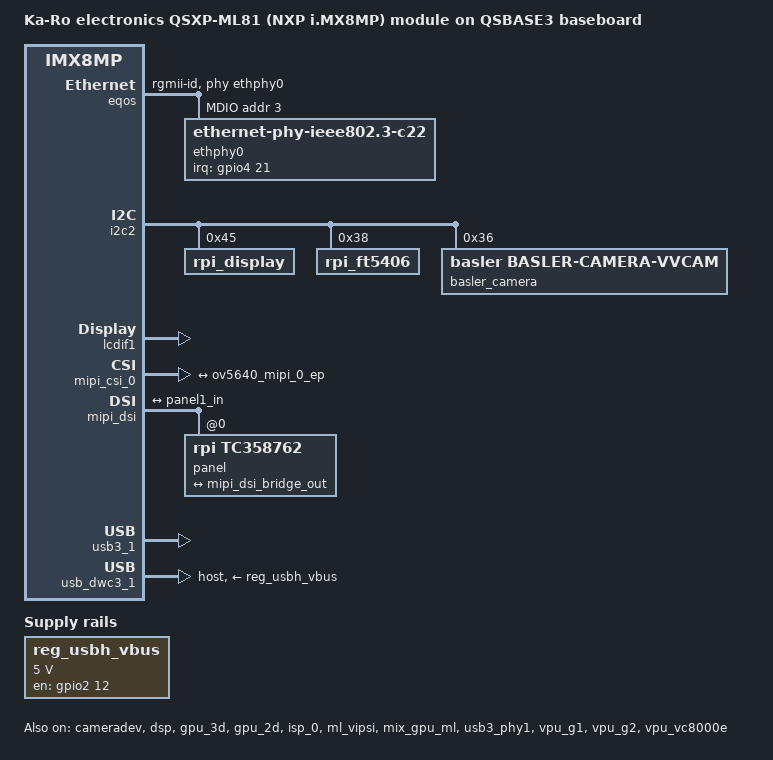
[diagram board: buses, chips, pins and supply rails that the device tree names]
// SPDX-License-Identifier: (GPL-2.0 OR MIT)
/*
 * Copyright (C) 2020 Markus Bauer <mb@karo-electronics.de>
 *
 */

/dts-v1/;

#include "imx8mp-qsxp-ml81.dts"

/ {
	model = "Ka-Ro electronics QSXP-ML81 (NXP i.MX8MP) module on QSBASE3 baseboard";

	aliases {
		ethernet0 = &eqos;
		/delete-property/ ethernet1;
	};

	reserved-memory {
		#address-cells = <2>;
		#size-cells = <2>;
		ranges;

		rpmsg_reserved: rpmsg@0x55800000 {
			no-map;
			reg = <0 0x55800000 0 0x800000>;
		};
	};

	reg_usbh_vbus: regulator-usbh-vbus {
		compatible = "regulator-fixed";
		pinctrl-names = "default";
		pinctrl-0 = <&pinctrl_usbh_vbus>;
		regulator-name = "USBH-VBUS";
		regulator-min-microvolt = <5000000>;
		regulator-max-microvolt = <5000000>;
		gpio = <&gpio2 12 GPIO_ACTIVE_HIGH>;
		enable-active-high;
		regulator-always-on;
	};
};

&cameradev {
	status = "okay";
};

&clk {
	init-on-array = <IMX8MP_CLK_HSIO_ROOT>;
};

&dsp {
	status = "okay";
};

&eqos {
	pinctrl-names = "default";
	pinctrl-0 = <&pinctrl_eqos>;
	phy-mode = "rgmii-id";
	phy-handle = <&ethphy0>;
	status = "okay";

	mdio {
		compatible = "snps,dwmac-mdio";
		#address-cells = <1>;
		#size-cells = <0>;

		ethphy0: ethernet-phy@3 {
			compatible = "ethernet-phy-ieee802.3-c22";
			pinctrl-names = "default";
			pinctrl-0 = <&pinctrl_etnphy_int_b>;
			interrupt-parent = <&gpio4>;
			interrupts = <21 IRQ_TYPE_EDGE_FALLING>;
			reg = <3>;
			eee-broken-1000t;
			rxd0-skew-ps = <(420 + 112)>;
			rxd1-skew-ps = <(420 + 125)>;
			rxd2-skew-ps = <(420 + 123)>;
			rxd3-skew-ps = <(420 + 135)>;
			txd0-skew-ps = <(420 + 205)>;
			txd1-skew-ps = <(420 + 192)>;
			txd2-skew-ps = <(420 + 197)>;
			txd3-skew-ps = <(420 + 169)>;
			rxdv-skew-ps = <(420 + 140)>;
			txen-skew-ps = <(420 + 170)>;
			rxc-skew-ps = <(900 + 143)>;
			txc-skew-ps = <(900 + 160)>;
		};
	};
};

&gpu_3d {
	status = "okay";
};

&gpu_2d {
	status = "okay";
};

&i2c2 {
	rpi_display: rpi_display@45 {
		compatible = "rpi_display";
		reg = <0x45>;
	};

	rpi_ft5406: rpi_ft5406@38 {
		compatible = "rpi_ft5406";
		reg = <0x38>;
	};

	ov5640_0: ov5640_mipi@3c {
		compatible = "ovti,ov5640";
		reg = <0x3c>;
		pinctrl-names = "default";
		pinctrl-0 = <&pinctrl_csi0_pwn>, <&pinctrl_csi0_rst>;
		clocks = <&clk IMX8MP_CLK_IPP_DO_CLKO2>;
		clock-names = "xclk";
		assigned-clocks = <&clk IMX8MP_CLK_IPP_DO_CLKO2>;
		assigned-clock-parents = <&clk IMX8MP_CLK_24M>;
		assigned-clock-rates = <24000000>;
		csi_id = <0>;
		powerdown-gpios = <&gpio2 17 GPIO_ACTIVE_HIGH>;
		reset-gpios = <&gpio4 24 GPIO_ACTIVE_LOW>;
		mclk = <24000000>;
		mclk_source = <0>;
		mipi_csi;
		status = "disabled";

		port {
			ov5640_mipi_0_ep: endpoint {
				remote-endpoint = <&mipi_csi0_ep>;
				data-lanes = <1 2>;
				clock-lanes = <0>;
			};
		};
	};

	ov2775_0: ov2775_mipi@36 {
		compatible = "ovti,ov2775";
		reg = <0x36>;
		pinctrl-names = "default";
		pinctrl-0 = <&pinctrl_csi0_pwn>, <&pinctrl_csi0_rst>;
		clocks = <&clk IMX8MP_CLK_IPP_DO_CLKO2>;
		clock-names = "csi_mclk";
		assigned-clocks = <&clk IMX8MP_CLK_IPP_DO_CLKO2>;
		assigned-clock-parents = <&clk IMX8MP_CLK_24M>;
		assigned-clock-rates = <24000000>;
		csi_id = <0>;
		pwn-gpios = <&gpio2 17 GPIO_ACTIVE_HIGH>;
		rst-gpios = <&gpio4 24 GPIO_ACTIVE_LOW>;
		mclk = <24000000>;
		mclk_source = <0>;
		status = "disabled";
	};

	basler_camera@36 {
		compatible = "basler,basler-camera-vvcam", "basler-camera-vvcam";
		reg = <0x36>;
		csi_id = <0x00>;
		status = "okay";

		port {
			endpoint {
				data-lanes = <1 2 3 4>;
				clock-lanes = <0>;
				link-frequencies = /bits/ 64 <248000000>;
			};
		};
	};
};

&i2c3 {
	status = "disabled";
};

&isp_0 {
	status = "okay";
};

&lcdif1 {
        status = "okay";
};

&mipi_csi_0 {
	#address-cells = <1>;
	#size-cells = <0>;
	clocks = <&clk IMX8MP_CLK_MEDIA_CAM1_PIX>,
			 <&clk IMX8MP_CLK_MEDIA_AXI>,
			 <&clk IMX8MP_CLK_MEDIA_APB>;
	clock-names = "mipi_clk", "axi_root", "apb_root";
	assigned-clocks = <&clk IMX8MP_CLK_MEDIA_CAM1_PIX>,
			  <&clk IMX8MP_CLK_MEDIA_AXI>,
			  <&clk IMX8MP_CLK_MEDIA_APB>;
	assigned-clock-parents = <&clk IMX8MP_SYS_PLL2_1000M>,
				 <&clk IMX8MP_SYS_PLL2_500M>,
				 <&clk IMX8MP_SYS_PLL1_800M>;
	assigned-clock-rates = <500000000>, <500000000>, <200000000>;
	status = "okay";

	port@0 {
		reg = <0>;
		mipi_csi0_ep: endpoint {
			remote-endpoint = <&ov5640_mipi_0_ep>;
			data-lanes = <2>;
			csis-hs-settle = <13>;
			csis-clk-settle = <2>;
			csis-wclk;
		};
	};
};

&mipi_dsi {
	status = "okay";

	panel@0 {
		compatible = "rpi,tc358762";
		reg = <0>;
		dsi-lanes = <1>;
		video-mode = <2>;
		panel-width-mm = <154>;
		panel-height-mm = <86>;

		port {
			panel1_in: endpoint {
				remote-endpoint = <&mipi_dsi_bridge_out>;
			};
		};
	};

	port@1 {
		mipi_dsi_bridge_out: endpoint {
			remote-endpoint = <&panel1_in>;
			attach-bridge;
		};
	};
};

&ml_vipsi {
	status = "okay";
};

&mix_gpu_ml {
	status = "okay";
};

&pcie {
	pinctrl-names = "default";
	pinctrl-0 = <&pinctrl_pcie>;
	bus-range = <0x00 0xff>;
	disable-gpio = <&gpio4 24 GPIO_ACTIVE_LOW>;
	reset-gpio = <&gpio1 15 GPIO_ACTIVE_LOW>;
	ext_osc = <0>;
	clocks = <&clk IMX8MP_CLK_HSIO_AXI_DIV>,
		 <&clk IMX8MP_CLK_PCIE_AUX>,
		 <&clk IMX8MP_CLK_PCIE_PHY>,
		 <&clk IMX8MP_CLK_PCIE_ROOT>;
	clock-names = "pcie", "pcie_aux", "pcie_phy", "pcie_bus";
	assigned-clocks = <&clk IMX8MP_CLK_HSIO_AXI_SRC>,
			  <&clk IMX8MP_CLK_PCIE_AUX>;
	assigned-clock-parents = <&clk IMX8MP_SYS_PLL2_500M>,
				 <&clk IMX8MP_SYS_PLL2_50M>;
	reserved-region = <&rpmsg_reserved>;
	status = "disabled";
};

&pcie_phy {
	status = "disabled";
};

&usb3_1 {
	status = "okay";
};

&usb3_phy1 {
	fsl,phy-tx-preemp-amp-tune = <2>;
	status = "okay";
};

&usb_dwc3_1 {
	dr_mode = "host";
	vbus-supply = <&reg_usbh_vbus>;
	status = "okay";
};

&usdhc2 {
	status = "disabled";
};

&vpu_g1 {
	status = "okay";
};

&vpu_g2 {
	status = "okay";
};

&vpu_vc8000e {
	status = "okay";
};

&iomuxc {
	pinctrl_etnphy_int_b: etnphy-int-bgrp {
		fsl,pins = <
			    MX8MP_IOMUXC_SAI2_RXFS__GPIO4_IO21		0x90
		>;
	};

	pinctrl_etnphy_rst_b: etnphy-rst-bgrp {
		fsl,pins = <
			    MX8MP_IOMUXC_SAI2_RXC__GPIO4_IO22		0x140
		>;
	};

	pinctrl_eqos: eqosgrp {
		fsl,pins = <
			    MX8MP_IOMUXC_GPIO1_IO00__CCMSRCGPCMIX_ENET_PHY_REF_CLK_ROOT 0x110
			    MX8MP_IOMUXC_ENET_MDC__ENET_QOS_MDC		0x142
			    MX8MP_IOMUXC_ENET_MDIO__ENET_QOS_MDIO	0x142
			    MX8MP_IOMUXC_ENET_TXC__CCM_ENET_QOS_CLOCK_GENERATE_TX_CLK 0x40000016
			    MX8MP_IOMUXC_ENET_TD0__ENET_QOS_RGMII_TD0	0x016
			    MX8MP_IOMUXC_ENET_TD1__ENET_QOS_RGMII_TD1	0x016
			    MX8MP_IOMUXC_ENET_TD2__ENET_QOS_RGMII_TD2	0x016
			    MX8MP_IOMUXC_ENET_TD3__ENET_QOS_RGMII_TD3	0x016
			    MX8MP_IOMUXC_ENET_RD0__ENET_QOS_RGMII_RD0	0x150
			    MX8MP_IOMUXC_ENET_RD1__ENET_QOS_RGMII_RD1	0x150
			    MX8MP_IOMUXC_ENET_RD2__ENET_QOS_RGMII_RD2	0x150
			    MX8MP_IOMUXC_ENET_RD3__ENET_QOS_RGMII_RD3	0x150
			    MX8MP_IOMUXC_ENET_RXC__CCM_ENET_QOS_CLOCK_GENERATE_RX_CLK 0x156
			    MX8MP_IOMUXC_ENET_RX_CTL__ENET_QOS_RGMII_RX_CTL 0x116
			    MX8MP_IOMUXC_ENET_TX_CTL__ENET_QOS_RGMII_TX_CTL 0x016
		>;
	};

	pinctrl_fec_sleep: fec-sleep-grp {
		fsl,pins = <
			    MX8MP_IOMUXC_GPIO1_IO00__GPIO1_IO00		0x120
			    MX8MP_IOMUXC_ENET_MDC__GPIO1_IO16		0x120
			    MX8MP_IOMUXC_ENET_MDIO__GPIO1_IO17		0x120
			    MX8MP_IOMUXC_ENET_TXC__GPIO1_IO23		0x40000120
			    MX8MP_IOMUXC_ENET_TD0__GPIO1_IO21		0x120
			    MX8MP_IOMUXC_ENET_TD1__GPIO1_IO20		0x120
			    MX8MP_IOMUXC_ENET_TD2__GPIO1_IO19		0x120
			    MX8MP_IOMUXC_ENET_TD3__GPIO1_IO18		0x120
			    MX8MP_IOMUXC_ENET_RD0__GPIO1_IO26		0x120
			    MX8MP_IOMUXC_ENET_RD1__GPIO1_IO27		0x120
			    MX8MP_IOMUXC_ENET_RD2__GPIO1_IO28		0x120
			    MX8MP_IOMUXC_ENET_RD3__GPIO1_IO29		0x120
			    MX8MP_IOMUXC_ENET_RXC__GPIO1_IO25		0x120
			    MX8MP_IOMUXC_ENET_RX_CTL__GPIO1_IO24	0x120
			    MX8MP_IOMUXC_ENET_TX_CTL__GPIO1_IO22	0x120
		>;
	};

	pinctrl_usbh_vbus: usbh-vbusgrp {
		fsl,pins = <
			MX8MP_IOMUXC_SD2_CD_B__GPIO2_IO12		0x06
		>;
	};

	pinctrl_csi0_pwn: csi0_pwn_grp {
		fsl,pins = <
			MX8MP_IOMUXC_SD2_DATA2__GPIO2_IO17		0x19
		>;
	};

	pinctrl_csi0_rst: csi0_rst_grp {
		fsl,pins = <
			MX8MP_IOMUXC_SAI2_TXFS__GPIO4_IO24		0x19
		>;
	};

	pinctrl_pcie: pciegrp {
		fsl,pins = <
			MX8MP_IOMUXC_SAI2_TXFS__GPIO4_IO24		0x41
			MX8MP_IOMUXC_GPIO1_IO15__GPIO1_IO15		0x41
		>;
	};
};
